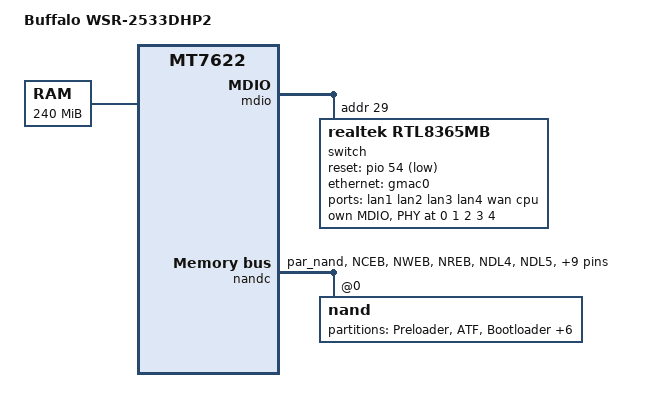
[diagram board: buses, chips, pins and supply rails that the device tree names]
// SPDX-License-Identifier: GPL-2.0-or-later OR MIT
/dts-v1/;

#include <dt-bindings/pinctrl/mt65xx.h>

#include "mt7622-buffalo-wsr.dtsi"

/ {
	model = "Buffalo WSR-2533DHP2";
	compatible = "buffalo,wsr-2533dhp2", "mediatek,mt7622";

	aliases {
		label-mac-device = &gmac0;
	};

	memory@40000000 {
		reg = <0 0x40000000 0 0x0f000000>;
		device_type = "memory";
	};
};

&mdio {
	switch@1d {
		compatible = "realtek,rtl8365mb";
		reg = <29>;
		reset-gpios = <&pio 54 GPIO_ACTIVE_LOW>;

		switch_mdio: mdio {
			#address-cells = <1>;
			#size-cells = <0>;

			phy0: ethernet-phy@0 {
				reg = <0>;
			};

			phy1: ethernet-phy@1 {
			reg = <1>;
			};

			phy2: ethernet-phy@2 {
				reg = <2>;
			};

			phy3: ethernet-phy@3 {
				reg = <3>;
			};

			phy4: ethernet-phy@4 {
				reg = <4>;
			};
		};

		switch_ports: ports {
			#address-cells = <1>;
			#size-cells = <0>;

			port@0 {
				reg = <0>;
				label = "lan1";
				phy-handle = <&phy0>;
			};

			port@1 {
				reg = <1>;
				label = "lan2";
				phy-handle = <&phy1>;
			};

			port@2 {
				reg = <2>;
				label = "lan3";
				phy-handle = <&phy2>;
			};

			port@3 {
				reg = <3>;
				label = "lan4";
				phy-handle = <&phy3>;
			};

			port@4 {
				reg = <4>;
				label = "wan";
				nvmem-cells = <&macaddr_factory_4 0>;
				nvmem-cell-names = "mac-address";
				phy-handle = <&phy4>;
			};

			port@6 {
				reg = <6>;
				label = "cpu";
				ethernet = <&gmac0>;
				phy-connection-type = "2500base-x";

				fixed-link {
					speed = <2500>;
					full-duplex;
					pause;
				};
			};
		};
	};
};

&pio {
	/* Parallel nand is shared pin with eMMC */
	parallel_nand_pins: parallel-nand-pins {
		mux {
			function = "flash";
			groups = "par_nand";
		};

		conf-cmd-dat {
			pins = "NCEB", "NWEB", "NREB",
				  "NDL4", "NDL5", "NDL6",
				  "NDL7", "NRB", "NCLE",
				  "NALE", "NDL0", "NDL1",
				  "NDL2", "NDL3";
			input-enable;
			drive-strength = <MTK_DRIVE_8mA>;
			bias-pull-up;
		};
	};
};

&gmac0 {
	nvmem-cells = <&macaddr_factory_4 (-1)>;
	nvmem-cell-names = "mac-address";
};

&nandc {
	pinctrl-names = "default";
	pinctrl-0 = <&parallel_nand_pins>;
	status = "okay";

	nand@0 {
		reg = <0>;
		nand-ecc-mode = "hw";

		partitions {
			compatible = "fixed-partitions";
			#address-cells = <1>;
			#size-cells = <1>;

			partition@0 {
				label = "Preloader";
				reg = <0x0 0x80000>;
				read-only;
			};

			partition@80000 {
				label = "ATF";
				reg = <0x80000 0x40000>;
				read-only;
			};

			partition@c0000 {
				label = "Bootloader";
				reg = <0xc0000 0x80000>;
				read-only;
			};

			partition@140000 {
				label = "Config";
				reg = <0x140000 0x80000>;
			};

			partition@1c0000 {
				label = "factory";
				reg = <0x1c0000 0x40000>;
				read-only;

				nvmem-layout {
					compatible = "fixed-layout";
					#address-cells = <1>;
					#size-cells = <1>;

					eeprom_factory_0: eeprom@0 {
						reg = <0x0 0x4da8>; /* actual length 0x400 */
					};

					macaddr_factory_4: macaddr@4 {
						compatible = "mac-base";
						reg = <0x4 0x6>;
						#nvmem-cell-cells = <1>;
					};

					eeprom_factory_5000: eeprom@5000 {
						reg = <0x5000 0x4da8>;
					};
				};
			};

			partition@200000 {
				compatible = "brcm,trx";
				brcm,trx-magic = <0x32504844>;
				label = "firmware";
				reg = <0x200000 0x3a00000>;
			};

			partition@3C00000 {
				label = "Kernel2";
				reg = <0x3c00000 0x3a00000>;
			};

			partition@7600000 {
				label = "glbcfg";
				reg = <0x7600000 0x200000>;
				read-only;
			};

			partition@7800000 {
				label = "board_data";
				reg = <0x7800000 0x200000>;
				read-only;
			};
		};
	};
};
